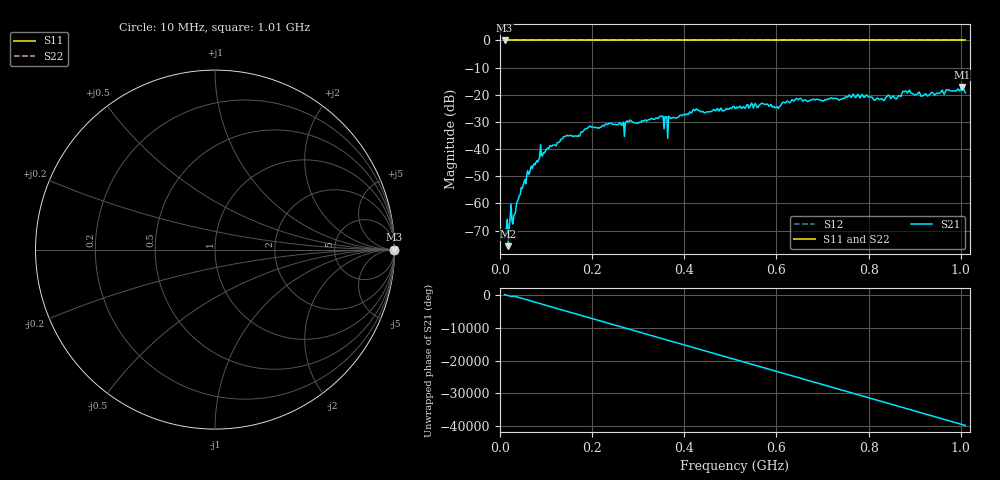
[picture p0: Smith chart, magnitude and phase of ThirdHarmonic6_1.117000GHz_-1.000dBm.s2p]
! 8/16/2025 10:42:23 AM
! C:\ANRITSUVNA\TEMP\TEMP.S2P
! CHANNEL.1
! TR.MEASUREMENT
! RAW.DATA
! RF.CORRECTION.OFF
! AVERAGING.OFF
! IF.BANDWIDTH: 5KHZ
! SWEEPTYPE:  FREQ.SWEEP(Linear)
! Reference Plane Port Info
! PORT:  PORT1  PORT2
! DISTANCE:  0  m  0  m
! TIME:  0  s  0  s
! PHASE.OFFSET:  0  deg.  0  deg.
! LOSS:  0  dB  0  dB
! REF.LOSS:  0  dB  0  dB
! REF.FREQ:  0  Hz  0  Hz
! Power Info
! POWER:  -20  dBm  -20  dBm
! EFF.POWER:  -20  dBm  -20  dBm
! SOURCE.ATTEN:  0  dB  0  dB
! TEST.ATTEN:  0  dB  0  dB
# GHZ S RI R 50.0
! FREQ.GHZ  S11RE  S11IM  S21RE  S21IM  S12RE  S12IM  S22RE  S22IM
!; PortSelection: Port_12
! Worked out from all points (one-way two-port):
!   501 points, 10 MHz to 1.01 GHz, reference 50 ohm
!   highest |S21| = -17.14 dB at 1.002 GHz (marker M1); lowest = -75.8 dB at 18 MHz (marker M2)
!   lowest |S11| = 0.0 dB at 10 MHz (marker M3)
!   |S11| at or under -10 dB: nowhere
!   |S22| runs from 0.0 to 0.0 dB; largest |S21 - S12| = 1.1
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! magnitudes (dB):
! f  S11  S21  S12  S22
! 10 MHz  0.0  -72.7  0.0  0.0
! 18 MHz  0.0  -75.8  0.0  0.0
! 26 MHz  0.0  -66.4  0.0  0.0
! 30 MHz  0.0  -64.4  0.0  0.0
! 56 MHz  0.0  -52.8  0.0  0.0
! 90 MHz  0.0  -42.3  0.0  0.0
! 142 MHz  0.0  -35.2  0.0  0.0
! 178 MHz  0.0  -33.7  0.0  0.0
! 196 MHz  0.0  -31.5  0.0  0.0
! 266 MHz  0.0  -30.8  0.0  0.0
! 280 MHz  0.0  -29.9  0.0  0.0
! 344 MHz  0.0  -28.7  0.0  0.0
! 360 MHz  0.0  -28.1  0.0  0.0
! 370 MHz  0.0  -28.5  0.0  0.0
! 422 MHz  0.0  -25.8  0.0  0.0
! 510 MHz  0.0  -24.9  0.0  0.0
! 600 MHz  0.0  -24.4  0.0  0.0
! 646 MHz  0.0  -21.8  0.0  0.0
! 678 MHz  0.0  -21.8  0.0  0.0
! 844 MHz  0.0  -20.1  0.0  0.0
! 1.002 GHz  0.0  -17.1  0.0  0.0
! 1.01 GHz  0.0  -19.3  0.0  0.0
